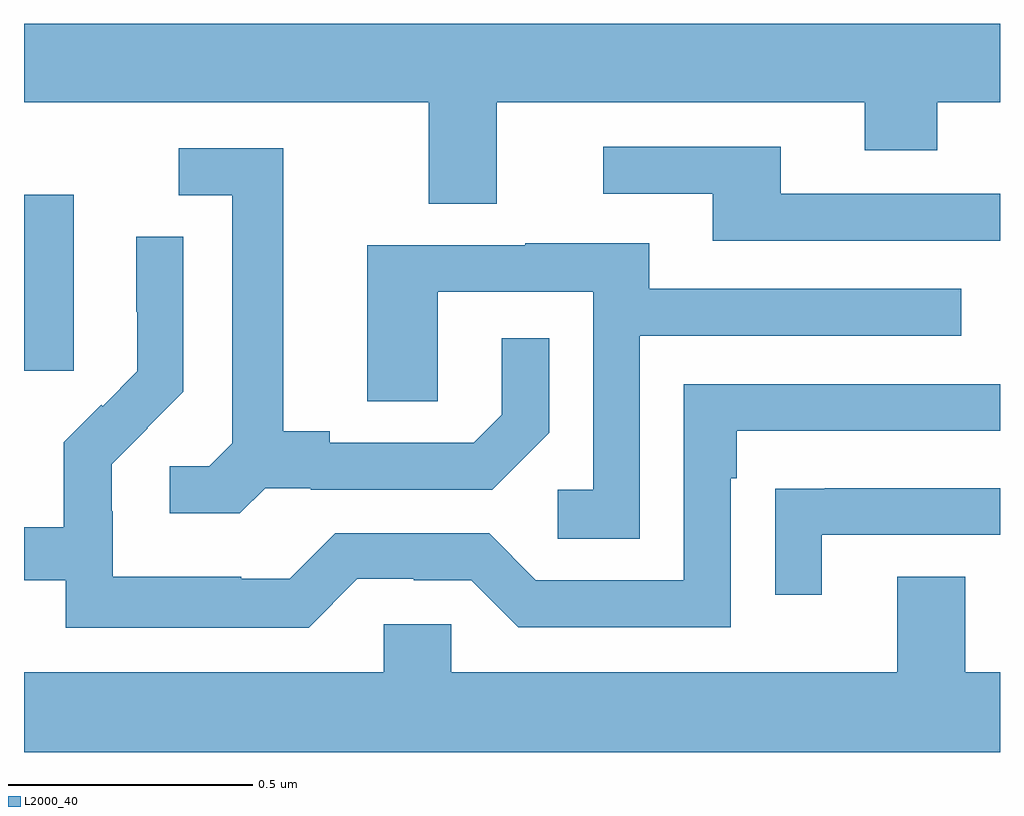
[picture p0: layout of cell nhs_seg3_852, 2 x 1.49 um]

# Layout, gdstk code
import gdstk
lib = gdstk.Library(unit=1e-6, precision=1e-09)
def R(c, l, rs):  # rectangles x0, y0, x1, y1
    for r in rs: c.add(gdstk.rectangle(r[:2], r[2:], *l))
def P(c, l, *ps):  # polygons
    for p in ps: c.add(gdstk.Polygon(p, *l))
L2000_40 = (2000, 40)

nhs_seg3_852 = lib.new_cell('nhs_seg3_852')
R(nhs_seg3_852, L2000_40, [(121,709.689,121.102,710.05)])
P(nhs_seg3_852, L2000_40, [(121,710.24),(121.829,710.24),(121.829,710.032),(121.969,710.032),(121.969,710.24),(122.723,710.24),(122.723,710.141),(122.871,710.141),(122.871,710.24),(123,710.24),(123,710.4),(121,710.4)],
  [(123,710.052),(122.551,710.052),(122.551,710.148),(122.187,710.148),(122.187,710.052),(122.411,710.052),(122.411,709.956),(123,709.956)],
  [(121.494,709.449),(121.588,709.449),(121.588,709.446),(121.96,709.446),(122.076,709.562),(122.076,709.756),(121.979,709.756),(121.979,709.599),(121.922,709.542),(121.627,709.542),(121.627,709.565),(121.531,709.565),(121.531,710.145),(121.317,710.145),(121.317,710.049),(121.427,710.049),(121.427,709.541),(121.38,709.494),(121.299,709.494),(121.299,709.397),(121.442,709.397)],
  [(121.683,709.263),(121.799,709.263),(121.799,709.26),(121.917,709.26),(122.013,709.164),(122.448,709.164),(122.448,709.469),(122.461,709.469),(122.461,709.566),(123,709.566),(123,709.662),(122.352,709.662),(122.352,709.26),(122.049,709.26),(121.953,709.356),(121.638,709.356),(121.545,709.263),(121.445,709.263),(121.445,709.267),(121.182,709.267),(121.182,709.401),(121.18,709.401),(121.18,709.498),(121.254,709.572),(121.253,709.573),(121.326,709.646),(121.326,709.964),(121.23,709.964),(121.23,709.81),(121.232,709.81),(121.232,709.688),(121.161,709.617),(121.158,709.62),(121.081,709.543),(121.081,709.369),(121,709.369),(121,709.26),(121.086,709.26),(121.086,709.163),(121.583,709.163)],
  [(122.262,709.761),(122.921,709.761),(122.921,709.857),(122.281,709.857),(122.281,709.951),(122.027,709.951),(122.027,709.947),(121.703,709.947),(121.703,709.627),(121.848,709.627),(121.848,709.851),(122.166,709.851),(122.166,709.446),(122.094,709.446),(122.094,709.345),(122.262,709.345)],
  [(122.635,709.353),(123,709.353),(123,709.449),(122.641,709.449),(122.641,709.448),(122.539,709.448),(122.539,709.23),(122.635,709.23)],
  [(123,709.072),(122.929,709.072),(122.929,709.267),(122.789,709.267),(122.789,709.072),(121.875,709.072),(121.875,709.17),(121.737,709.17),(121.737,709.072),(121,709.072),(121,708.908),(123,708.908)])

lib.write_gds('nhs_seg3_852.gds')
